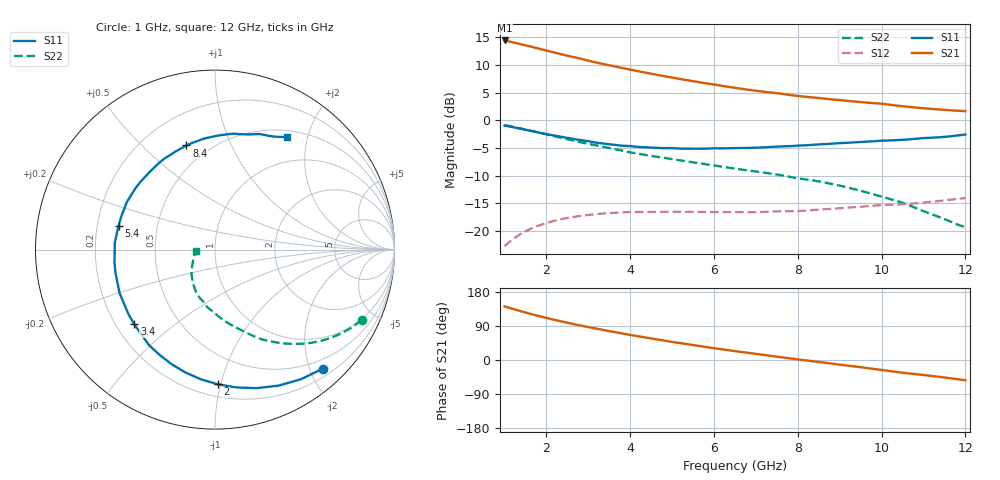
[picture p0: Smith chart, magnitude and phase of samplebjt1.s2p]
# GHz S MA R 50
! S-Parameters data
! FREQ  magS11  angS11  magS21  angS21  magS12  angS12  magS22  angS22
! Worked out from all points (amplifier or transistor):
!   56 points, 1 GHz to 12 GHz, reference 50 ohm
!   highest |S21| = 14.4 dB at 1 GHz (marker M1)
!   |S21| within 3 dB of that: start of sweep to 2.639 GHz
!   unconditionally stable (mu >= 1): 6.403 GHz to 11.9 GHz
!   at 2.8 GHz: K = 0.46, MSG = 14.2 dB, |S12| = -17.3 dB
!   at 6.6 GHz: K = 1.03, MAG = 10.2 dB, |S12| = -16.6 dB
!   at 12 GHz: K = 0.98, MSG = 7.9 dB, |S12| = -14.1 dB
!   lowest NFmin = 0.42 dB at 1 GHz
!   S11 on the Smith chart (normalised r, x): 1 GHz: 0.33, -2.22; 2 GHz: 0.28, -0.98; 3.4 GHz: 0.27, -0.37; 5.4 GHz: 0.29, +0.11; 8.4 GHz: 0.38, +0.69; 12 GHz: 0.60, +1.67
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1  0.8952 -47.8  5.272 141.4  0.0727 61.5  0.9061 -25.7
1.2  0.8662 -56.6  5.069 134.8  0.0844 55.9  0.8739 -30.0
1.4  0.836 -65.1  4.863 128.3  0.0946 50.7  0.8408 -34.0
1.6  0.8058 -73.3  4.66 122.2  0.1035 45.8  0.8079 -37.7
1.8  0.777 -81.3  4.464 116.4  0.1112 41.3  0.7762 -41.1
2  0.7504 -88.9  4.274 110.9  0.1179 37.2  0.7455 -44.2
2.4  0.7038 -103.7  3.915 100.7  0.1287 29.6  0.6878 -49.8
2.8  0.6629 -117.8  3.621 91.2  0.1363 22.9  0.6348 -55.1
3  0.6473 -124.5  3.459 86.8  0.1395 19.9  0.6123 -57.3
3.4  0.613 -137.2  3.201 78.3  0.144 14.3  0.5712 -61.7
3.6  0.6012 -143.4  3.086 74.1  0.1457 11.6  0.5515 -63.7
4  0.5843 -155.6  2.873 66.0  0.148 6.4  0.5127 -67.5
4.4  0.5692 -167.1  2.681 58.7  0.1483 2.6  0.4831 -70.6
4.8  0.5595 -178.3  2.51 51.4  0.1486 -0.9  0.4575 -73.8
5.4  0.5539 166.0  2.289 41.0  0.1486 -5.5  0.422 -79.0
6  0.5581 151.6  2.106 31.1  0.148 -9.2  0.3904 -84.0
6.6  0.5613 138.2  1.941 21.9  0.1476 -12.2  0.361 -89.0
7.6  0.5802 118.9  1.737 7.3  0.1503 -15.6  0.3187 -98.6
8.4  0.6016 105.3  1.603 -3.8  0.1546 -17.8  0.2845 -106.8
9  0.6216 95.6  1.522 -12.3  0.1602 -20.1  0.2565 -114.5
10.2  0.6574 78.4  1.381 -29.2  0.172 -25.8  0.194 -132.0
12  0.7437 57.4  1.209 -53.4  0.1978 -32.4  0.1077 -176.7
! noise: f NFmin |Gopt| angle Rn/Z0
1  0.4181  0.6365  21.07  0.268
1.5  0.6944  0.4451  38.39  0.2287
2  0.8457  0.403  56.96  0.2179
2.5  0.947  0.4229  70.8  0.2122
3  1.1  0.365  96  0.161
3.5  1.189  0.3134  118  0.1247
4  1.278  0.2617  141.5  0.106
4.5  1.44  0.1982  169.7  0.1202
5  1.589  0.1901  204.6  0.139
6  1.72  0.346  220.8  0.152
